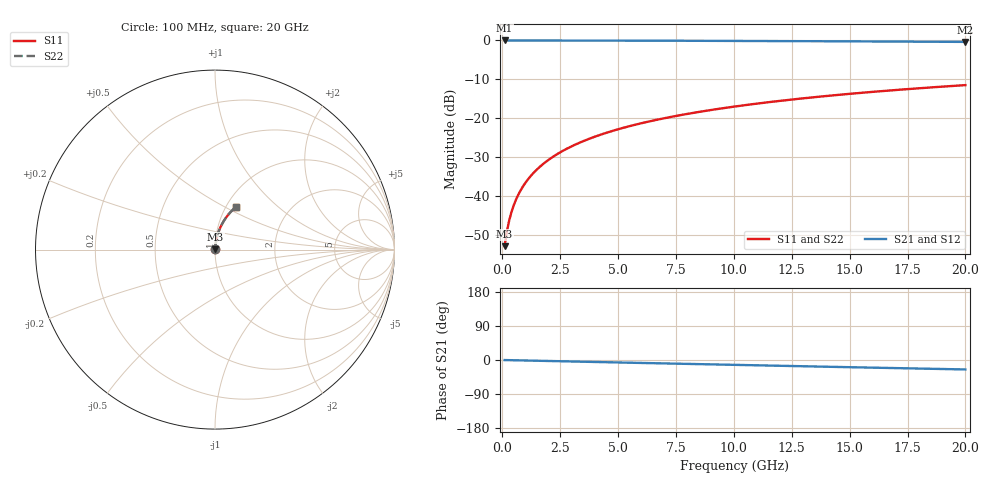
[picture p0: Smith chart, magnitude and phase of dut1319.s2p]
! Touchstone file exported from HFSS 2026.1.0
!  File:  C:/ffzhzh/LocalFiles/Ansys_Project_Files/temp_train_BSMRDL_1319_1783178501_22436.aedt
!  Generated:  11:22:50 PM Jul  4, 2026
!  Design:  BSMRDL
!  Project:  temp_train_BSMRDL_1319_1783178501_22436
! Variables:
!  h_bsmrdl = 3.87um
!  h_ox = 20um
!  h_rdl = 5um
!  h_sub = 80um
!  h_tmrdl = 5um
!  h_tsv = 80um
!  h_via = 3um
!  l_bsmrdl = 314.77um
!  l_sub = 714.77um
!  l_tmrdl = 200um
!  m_sub = 200um
!  pitch = 49.68um
!  r_tsv = 6um
!  s_tmrdl = 10um
!  w_bsmrdl = 19.01um
!  w_sub = 500um
!  w_tmrdl = 12um
!  x_tsv_center1 = 206um
!  x_tsv_center2 = 539.78um
!  x_tsv_center3 = 751.78um
!  x_tsv_center4 = 1085.56um
!  x_tsv_center5 = 1297.56um
!  x_tsv_center6 = 1631.34um
# GHz S MA R 50.000000
! Terminal data exported
! Port[1] = BSM_RDL1_1_T1
! Port[2] = BSM_RDL1_1_T2
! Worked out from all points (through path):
!   200 points, 100 MHz to 20 GHz, reference 50 ohm
!   highest |S21| = -0.01 dB at 100 MHz (marker M1); lowest = -0.4 dB at 20 GHz (marker M2)
!   group delay of S21, straight-line fit = 3.46 ps
!   lowest |S11| = -52.7 dB at 100 MHz (marker M3), VSWR 1.00, Z = 50.2 + j0.157 ohm
!   |S11| at or under -10 dB: start of sweep to end of sweep
!   |S22| runs from -52.7 to -11.5 dB; largest |S21 - S12| = 3.1e-15
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0.1  0.002306 42.8  0.9983 -0.1  0.9983 -0.1  0.002306 42.8
! Gamma 0 0 0 0
! Port Impedance 50 0 50 0
0.2  0.003569 60.4  0.9982 -0.3  0.9982 -0.3  0.003569 60.4
0.3  0.004958 68.0  0.9982 -0.4  0.9982 -0.4  0.004959 68.1
0.4  0.006373 72.3  0.9981 -0.5  0.9981 -0.5  0.006374 72.3
0.5  0.007796 75.0  0.998 -0.7  0.998 -0.7  0.007796 75.0
0.6  0.009224 76.8  0.998 -0.8  0.998 -0.8  0.009224 76.8
0.8  0.01209 79.3  0.9979 -1.1  0.9979 -1.1  0.01209 79.3
1.1  0.01643 81.2  0.9978 -1.4  0.9978 -1.4  0.01643 81.2
1.5  0.02223 82.4  0.9976 -2.0  0.9976 -2.0  0.02223 82.4
1.8  0.02659 82.8  0.9974 -2.4  0.9974 -2.4  0.02659 82.8
2.1  0.03095 83.0  0.9972 -2.8  0.9972 -2.8  0.03095 83.0
2.7  0.03966 82.9  0.9968 -3.5  0.9968 -3.5  0.03966 82.9
3.5  0.05121 82.4  0.996 -4.6  0.996 -4.6  0.05121 82.4
4.2  0.06124 81.8  0.9952 -5.5  0.9952 -5.5  0.06124 81.7
5  0.07262 80.9  0.9941 -6.5  0.9941 -6.5  0.07262 80.9
5.9  0.08531 79.9  0.9928 -7.7  0.9928 -7.7  0.08531 79.9
6.8  0.09787 78.9  0.9913 -8.8  0.9913 -8.8  0.09787 78.9
8.3  0.1185 77.2  0.9885 -10.7  0.9885 -10.7  0.1185 77.2
10.1  0.1429 75.1  0.9848 -13.0  0.9848 -13.0  0.1429 75.0
13.4  0.1862 71.2  0.9767 -17.0  0.9767 -17.0  0.1862 71.2
16.7  0.2278 67.4  0.9673 -21.0  0.9673 -21.0  0.2278 67.3
20  0.2673 63.6  0.9567 -25.0  0.9567 -25.0  0.2673 63.6
